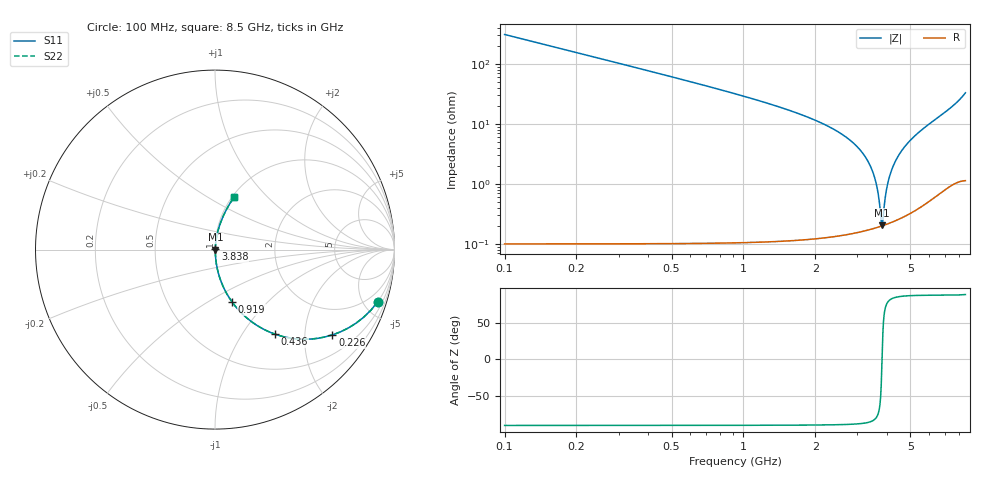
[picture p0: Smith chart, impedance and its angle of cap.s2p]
!Murata Part Number: GJM1555C1H5R1CB01
!These Parameters are Measured in Series Mode Connection
!  o--ll--o
!Port1  Port2
!  o------o
!Operation Temp=25[degC], DC Bias Voltage=0[V]
!Freq. Start=100[MHz] Stop=8.5[GHz], 401[Steps]
!Data Generated on Jan 10, 2017
# Hz S RI R 50
!Freq.(Hz) S11(Real) S11(Imag) S21(Real) S21(Imag) S12(Real) S12(Imag) S22(Real) S22(Imag)
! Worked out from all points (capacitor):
!   401 points, 100 MHz to 8.5 GHz, reference 50 ohm
!   read as one part in series: C = 5.1 pF near 142 MHz
!   lowest |Z| = 204 mohm at 3.796 GHz (marker M1)
!   series resonance near 3.805 GHz, so ESL is about 340 pH
!   S11 on the Smith chart (normalised r, x): 100 MHz: 1.00, -6.24; 226 MHz: 1.00, -2.75; 436 MHz: 1.00, -1.41; 919 MHz: 1.00, -0.64; 3.838 GHz: 1.00, +0.00; 8.5 GHz: 1.02, +0.66
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1e8  0.9067 -0.2907  0.0933 0.2907  0.0933 0.2907  0.9067 -0.2907
2.26e8  0.6544 -0.4752  0.3456 0.4752  0.3456 0.4752  0.6544 -0.4752
4.36e8  0.3336 -0.4708  0.6664 0.4708  0.6664 0.4708  0.3336 -0.4708
6.46e8  0.1816 -0.3845  0.8184 0.3845  0.8184 0.3845  0.1816 -0.3845
9.19e8  0.0943 -0.2907  0.9057 0.2907  0.9057 0.2907  0.0943 -0.2907
1.507e9  0.0313 -0.1711  0.9687 0.1711  0.9687 0.1711  0.0313 -0.1711
2.41e9  0.00769 -0.0795  0.9923 0.0795  0.9923 0.0795  0.00769 -0.0795
2.914e9  0.00366 -0.0463  0.9963 0.0463  0.9963 0.0463  0.00366 -0.0463
3.271e9  0.00237 -0.0264  0.9976 0.0264  0.9976 0.0264  0.00237 -0.0264
3.502e9  0.00201 -0.0146  0.998 0.0146  0.998 0.0146  0.00201 -0.0146
3.649e9  0.00195 -0.00743  0.9981 0.00743  0.9981 0.00743  0.00195 -0.00743
3.775e9  0.00198 -0.00142  0.998 0.00142  0.998 0.00142  0.00198 -0.00142
3.796e9  0.00199 -0.000432  0.998 0.000432  0.998 0.000432  0.00199 -0.000432
3.838e9  0.00202 0.00154  0.998 -0.00154  0.998 -0.00154  0.00202 0.00154
3.922e9  0.00211 0.00543  0.9979 -0.00543  0.9979 -0.00543  0.00211 0.00543
4.006e9  0.00223 0.00928  0.9978 -0.00928  0.9978 -0.00928  0.00223 0.00928
4.132e9  0.00248 0.015  0.9975 -0.015  0.9975 -0.015  0.00248 0.015
4.3e9  0.00291 0.0225  0.9971 -0.0225  0.9971 -0.0225  0.00291 0.0225
4.846e9  0.00517 0.0463  0.9948 -0.0463  0.9948 -0.0463  0.00517 0.0463
5.707e9  0.0117 0.0845  0.9883 -0.0845  0.9883 -0.0845  0.0117 0.0845
7.114e9  0.0347 0.1595  0.9653 -0.1595  0.9653 -0.1595  0.0347 0.1595
8.5e9  0.1073 0.2929  0.8927 -0.2929  0.8927 -0.2929  0.1073 0.2929
